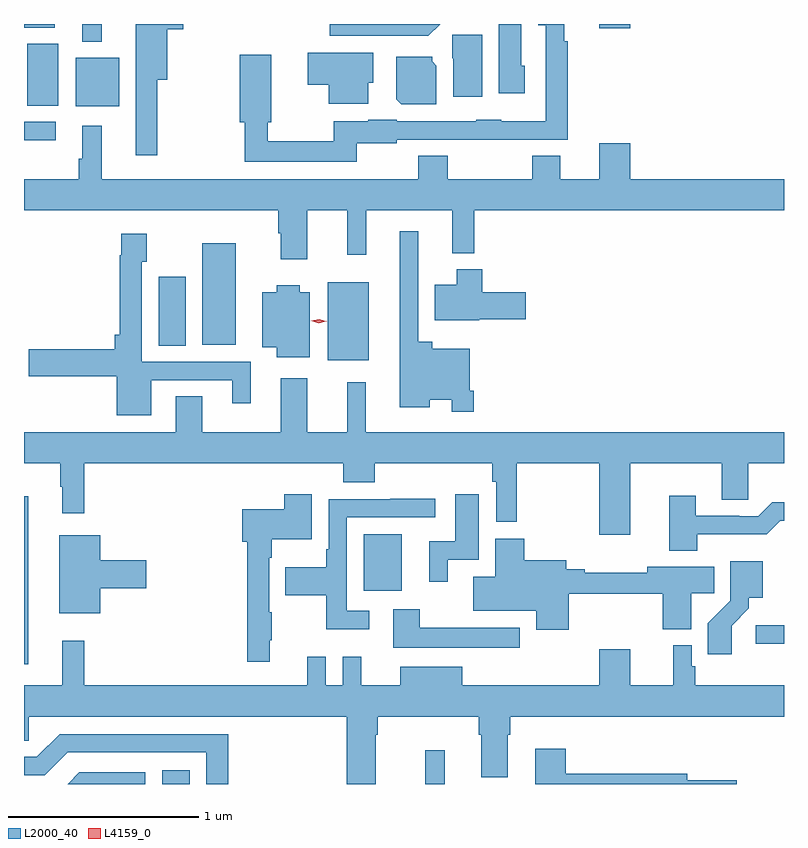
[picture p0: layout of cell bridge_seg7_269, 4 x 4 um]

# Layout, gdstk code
import gdstk
lib = gdstk.Library(unit=1e-6, precision=1e-09)
def R(c, l, rs):  # rectangles x0, y0, x1, y1
    for r in rs: c.add(gdstk.rectangle(r[:2], r[2:], *l))
def P(c, l, *ps):  # polygons
    for p in ps: c.add(gdstk.Polygon(p, *l))
L2000_40 = (2000, 40)
L4159_0 = (4159, 0)

bridge_seg7_269 = lib.new_cell('bridge_seg7_269')
R(bridge_seg7_269, L2000_40, [(198.672,1048.213,198.818,1048.285), (200.056,1048.213,200.159,1048.39), (197.945,1048.842,197.968,1049.728), (201.795,1048.951,201.945,1049.049), (199.733,1049.231,199.933,1049.527), (199.544,1050.443,199.759,1050.853), (198.653,1050.52,198.796,1050.883), (198.884,1050.524,199.06,1051.06), (197.945,1051.601,198.112,1051.698), (198.218,1051.781,198.445,1052.035), (197.963,1051.783,198.124,1052.108), (198.251,1052.12,198.355,1052.213), (200.972,1052.19,201.136,1052.213), (197.945,1052.193,198.106,1052.213)])
P(bridge_seg7_269, L2000_40, [(200.135,1052.213),(199.553,1052.213),(199.553,1052.151),(199.97,1052.151),(199.97,1052.15),(200.072,1052.15)],
  [(198.647,1051.919),(198.699,1051.919),(198.699,1052.186),(198.784,1052.186),(198.784,1052.213),(198.533,1052.213),(198.533,1051.521),(198.647,1051.521)],
  [(200.581,1051.992),(200.563,1051.992),(200.563,1052.213),(200.444,1052.213),(200.444,1051.848),(200.581,1051.848)],
  [(199.696,1051.586),(199.908,1051.586),(199.908,1051.605),(200.325,1051.605),(200.325,1051.604),(200.557,1051.604),(200.557,1051.605),(200.807,1051.605),(200.807,1052.123),(200.789,1052.123),(200.789,1052.213),(200.651,1052.213),(200.651,1052.207),(200.691,1052.207),(200.691,1051.702),(200.457,1051.702),(200.457,1051.708),(200.325,1051.708),(200.325,1051.701),(199.908,1051.701),(199.908,1051.708),(199.758,1051.708),(199.758,1051.702),(199.575,1051.702),(199.575,1051.597),(199.228,1051.597),(199.228,1051.697),(199.246,1051.697),(199.246,1052.05),(199.081,1052.05),(199.081,1051.697),(199.107,1051.697),(199.107,1051.488),(199.696,1051.488)],
  [(200.356,1052.157),(200.2,1052.157),(200.2,1052.034),(200.204,1052.034),(200.204,1051.83),(200.356,1051.83)],
  [(199.756,1051.905),(199.783,1051.905),(199.783,1052.062),(199.439,1052.062),(199.439,1051.894),(199.55,1051.894),(199.55,1051.793),(199.756,1051.793)],
  [(200.116,1051.994),(200.094,1052.016),(200.094,1052.041),(199.904,1052.041),(199.904,1051.816),(199.93,1051.79),(200.116,1051.79)],
  [(199.435,1051.232),(199.646,1051.232),(199.646,1050.999),(199.745,1050.999),(199.745,1051.232),(200.198,1051.232),(200.198,1051.007),(200.315,1051.007),(200.315,1051.232),(201.945,1051.232),(201.945,1051.396),(201.136,1051.396),(201.136,1051.585),(200.972,1051.585),(200.972,1051.396),(200.767,1051.396),(200.767,1051.52),(200.62,1051.52),(200.62,1051.396),(200.175,1051.396),(200.175,1051.52),(200.02,1051.52),(200.02,1051.396),(198.355,1051.396),(198.355,1051.678),(198.251,1051.678),(198.251,1051.505),(198.234,1051.505),(198.234,1051.396),(197.945,1051.396),(197.945,1051.232),(199.283,1051.232),(199.283,1051.112),(199.295,1051.112),(199.295,1050.975),(199.435,1050.975)],
  [(200.312,1050.283),(200.292,1050.283),(200.292,1050.505),(200.093,1050.505),(200.093,1050.541),(200.019,1050.541),(200.019,1051.123),(199.922,1051.123),(199.922,1050.197),(200.08,1050.197),(200.08,1050.236),(200.196,1050.236),(200.196,1050.171),(200.312,1050.171)],
  [(198.616,1050.339),(199.04,1050.339),(199.04,1050.216),(199.138,1050.216),(199.138,1050.435),(198.564,1050.435),(198.564,1050.963),(198.591,1050.963),(198.591,1051.108),(198.456,1051.108),(198.456,1050.995),(198.448,1050.995),(198.448,1050.577),(198.422,1050.577),(198.422,1050.5),(197.97,1050.5),(197.97,1050.358),(198.434,1050.358),(198.434,1050.155),(198.616,1050.155)],
  [(200.34,1050.659),(200.587,1050.659),(200.587,1050.801),(200.357,1050.801),(200.357,1050.922),(200.222,1050.922),(200.222,1050.841),(200.108,1050.841),(200.108,1050.653),(200.34,1050.653)],
  [(199.45,1050.802),(199.396,1050.802),(199.396,1050.838),(199.274,1050.838),(199.274,1050.802),(199.199,1050.802),(199.199,1050.512),(199.274,1050.512),(199.274,1050.458),(199.45,1050.458)],
  [(201.136,1049.9),(201.617,1049.9),(201.617,1049.71),(201.756,1049.71),(201.756,1049.9),(201.945,1049.9),(201.945,1050.064),(199.744,1050.064),(199.744,1050.328),(199.646,1050.328),(199.646,1050.064),(199.435,1050.064),(199.435,1050.349),(199.295,1050.349),(199.295,1050.064),(198.883,1050.064),(198.883,1050.254),(198.743,1050.254),(198.743,1050.064),(197.945,1050.064),(197.945,1049.9),(198.135,1049.9),(198.135,1049.777),(198.146,1049.777),(198.146,1049.637),(198.263,1049.637),(198.263,1049.9),(199.625,1049.9),(199.625,1049.801),(199.79,1049.801),(199.79,1049.9),(200.41,1049.9),(200.41,1049.804),(200.43,1049.804),(200.43,1049.592),(200.539,1049.592),(200.539,1049.9),(200.972,1049.9),(200.972,1049.526),(201.136,1049.526)],
  [(200.176,1049.394),(200.338,1049.394),(200.338,1049.737),(200.216,1049.737),(200.216,1049.49),(200.078,1049.49),(200.078,1049.277),(200.176,1049.277)],
  [(199.238,1048.969),(199.249,1048.969),(199.249,1049.117),(199.236,1049.117),(199.236,1049.405),(199.249,1049.405),(199.249,1049.501),(199.459,1049.501),(199.459,1049.737),(199.316,1049.737),(199.316,1049.659),(199.094,1049.659),(199.094,1049.489),(199.12,1049.489),(199.12,1048.857),(199.238,1048.857)],
  [(201.489,1049.528),(201.853,1049.528),(201.924,1049.598),(201.945,1049.598),(201.945,1049.695),(201.883,1049.695),(201.81,1049.622),(201.71,1049.622),(201.71,1049.625),(201.481,1049.625),(201.481,1049.731),(201.341,1049.731),(201.341,1049.441),(201.489,1049.441)],
  [(199.762,1049.124),(199.644,1049.124),(199.644,1049.616),(200.11,1049.616),(200.11,1049.714),(199.873,1049.714),(199.873,1049.712),(199.548,1049.712),(199.548,1049.449),(199.536,1049.449),(199.536,1049.353),(199.321,1049.353),(199.321,1049.206),(199.536,1049.206),(199.536,1049.027),(199.762,1049.027)],
  [(198.346,1049.243),(198.589,1049.243),(198.589,1049.39),(198.346,1049.39),(198.346,1049.521),(198.131,1049.521),(198.131,1049.111),(198.346,1049.111)],
  [(200.813,1049.214),(201.308,1049.214),(201.308,1049.027),(201.457,1049.027),(201.457,1049.218),(201.578,1049.218),(201.578,1049.356),(201.224,1049.356),(201.224,1049.324),(200.896,1049.324),(200.896,1049.342),(200.8,1049.342),(200.8,1049.39),(200.579,1049.39),(200.579,1049.503),(200.426,1049.503),(200.426,1049.305),(200.309,1049.305),(200.309,1049.126),(200.642,1049.126),(200.642,1049.025),(200.813,1049.025)],
  [(201.67,1049.047),(201.76,1049.137),(201.76,1049.192),(201.832,1049.192),(201.832,1049.386),(201.663,1049.386),(201.663,1049.177),(201.544,1049.058),(201.544,1048.896),(201.67,1048.896)],
  [(200.554,1049.035),(200.029,1049.035),(200.029,1049.134),(199.889,1049.134),(199.889,1048.931),(200.554,1048.931)],
  [(201.361,1048.942),(201.361,1048.732),(201.136,1048.732),(201.136,1048.921),(200.972,1048.921),(200.972,1048.732),(200.251,1048.732),(200.251,1048.831),(199.925,1048.831),(199.925,1048.732),(199.721,1048.732),(199.721,1048.882),(199.623,1048.882),(199.623,1048.732),(199.533,1048.732),(199.533,1048.882),(199.436,1048.882),(199.436,1048.732),(198.263,1048.732),(198.263,1048.966),(198.146,1048.966),(198.146,1048.732),(197.945,1048.732),(197.945,1048.441),(197.97,1048.441),(197.97,1048.568),(199.643,1048.568),(199.643,1048.213),(199.795,1048.213),(199.795,1048.472),(199.808,1048.472),(199.808,1048.568),(200.339,1048.568),(200.339,1048.472),(200.351,1048.472),(200.351,1048.248),(200.491,1048.248),(200.491,1048.472),(200.504,1048.472),(200.504,1048.568),(201.945,1048.568),(201.945,1048.732),(201.479,1048.732),(201.479,1048.833),(201.459,1048.833),(201.459,1048.942)],
  [(199.019,1048.476),(198.132,1048.476),(198.012,1048.356),(197.945,1048.356),(197.945,1048.26),(198.054,1048.26),(198.174,1048.38),(198.903,1048.38),(198.903,1048.213),(199.019,1048.213)],
  [(201.697,1048.233),(201.436,1048.233),(201.436,1048.267),(200.795,1048.267),(200.795,1048.399),(200.636,1048.399),(200.636,1048.213),(201.697,1048.213)],
  [(198.582,1048.275),(198.236,1048.275),(198.174,1048.213),(198.582,1048.213)])
P(bridge_seg7_269, L4159_0, [(199.497,1050.639),(199.458,1050.65),(199.458,1050.65),(199.458,1050.65),(199.498,1050.659),(199.537,1050.649),(199.538,1050.649),(199.537,1050.649)])

lib.write_gds('bridge_seg7_269.gds')
